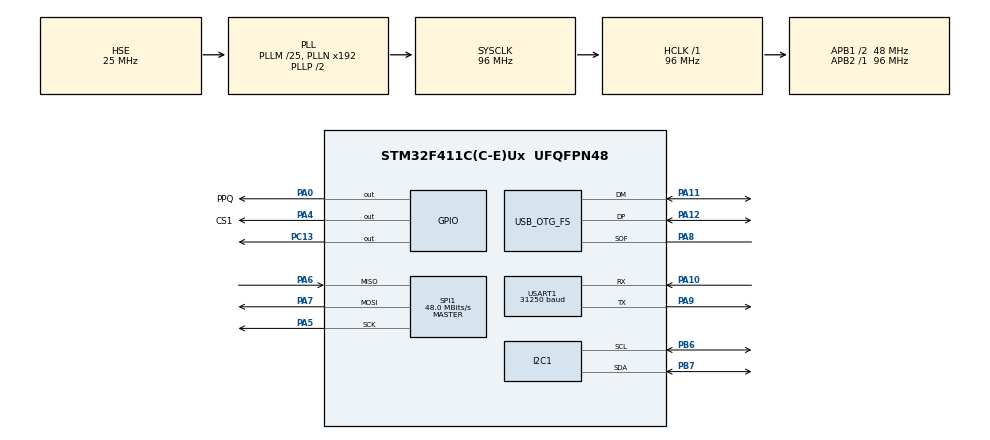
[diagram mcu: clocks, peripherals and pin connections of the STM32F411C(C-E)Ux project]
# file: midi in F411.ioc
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Dma.Request0=SPI1_RX
Dma.Request1=SPI1_TX
Dma.SPI1_RX.0.Direction=DMA_PERIPH_TO_MEMORY
Dma.SPI1_RX.0.FIFOMode=DMA_FIFOMODE_DISABLE
Dma.SPI1_RX.0.Instance=DMA2_Stream0
Dma.SPI1_RX.0.MemDataAlignment=DMA_MDATAALIGN_BYTE
Dma.SPI1_RX.0.MemInc=DMA_MINC_ENABLE
Dma.SPI1_RX.0.Mode=DMA_CIRCULAR
Dma.SPI1_RX.0.PeriphDataAlignment=DMA_PDATAALIGN_BYTE
Dma.SPI1_RX.0.PeriphInc=DMA_PINC_DISABLE
Dma.SPI1_RX.0.Priority=DMA_PRIORITY_LOW
Dma.SPI1_TX.1.Direction=DMA_MEMORY_TO_PERIPH
Dma.SPI1_TX.1.FIFOMode=DMA_FIFOMODE_DISABLE
Dma.SPI1_TX.1.Instance=DMA2_Stream2
Dma.SPI1_TX.1.MemDataAlignment=DMA_MDATAALIGN_BYTE
Dma.SPI1_TX.1.MemInc=DMA_MINC_ENABLE
Dma.SPI1_TX.1.Mode=DMA_CIRCULAR
Dma.SPI1_TX.1.PeriphDataAlignment=DMA_PDATAALIGN_BYTE
Dma.SPI1_TX.1.PeriphInc=DMA_PINC_DISABLE
Dma.SPI1_TX.1.Priority=DMA_PRIORITY_LOW
Mcu.Family=STM32F4
Mcu.Name=STM32F411C(C-E)Ux
Mcu.Package=UFQFPN48
NVIC.DMA2_Stream0_IRQn=true\:0\:0\:false\:false\:true\:false\:true\:true
NVIC.DMA2_Stream2_IRQn=true\:0\:0\:false\:false\:true\:false\:true\:true
NVIC.I2C1_ER_IRQn=true\:0\:0\:false\:false\:true\:true\:true\:true
NVIC.I2C1_EV_IRQn=true\:0\:0\:false\:false\:true\:true\:true\:true
NVIC.OTG_FS_IRQn=true\:0\:0\:false\:false\:true\:true\:true\:true
NVIC.PriorityGroup=NVIC_PRIORITYGROUP_4
NVIC.TIM2_IRQn=true\:0\:0\:false\:false\:true\:true\:true\:true
NVIC.USART1_IRQn=true\:0\:0\:false\:false\:true\:true\:true\:true
PA0-WKUP.GPIO_Label=PPQ
PA0-WKUP.GPIO_ModeDefaultOutputPP=GPIO_MODE_OUTPUT_OD
PA0-WKUP.GPIO_PuPd=GPIO_NOPULL
PA0-WKUP.Signal=GPIO_Output
PA10.Mode=Asynchronous
PA10.Signal=USART1_RX
PA11.Mode=Host_Only
PA11.Signal=USB_OTG_FS_DM
PA12.Mode=Host_Only
PA12.Signal=USB_OTG_FS_DP
PA13.Mode=Trace_Asynchronous_SW
PA13.Signal=SYS_JTMS-SWDIO
PA14.Mode=Trace_Asynchronous_SW
PA14.Signal=SYS_JTCK-SWCLK
PA4.GPIO_Label=CS1
PA4.Signal=GPIO_Output
PA5.Mode=Full_Duplex_Master
PA5.Signal=SPI1_SCK
PA6.Mode=Full_Duplex_Master
PA6.Signal=SPI1_MISO
PA7.Mode=Full_Duplex_Master
PA7.Signal=SPI1_MOSI
PA8.Mode=Activate_SOF_FS
PA8.Signal=USB_OTG_FS_SOF
PA9.GPIO_PuPd=GPIO_PULLUP
PA9.Mode=Asynchronous
PA9.Signal=USART1_TX
PB3.Mode=Trace_Asynchronous_SW
PB3.Signal=SYS_JTDO-SWO
PB6.GPIO_Pu=GPIO_PULLUP
PB6.Mode=I2C
PB6.Signal=I2C1_SCL
PB7.GPIO_Pu=GPIO_PULLUP
PB7.Mode=I2C
PB7.Signal=I2C1_SDA
PC13-ANTI_TAMP.Signal=GPIO_Output
PC14-OSC32_IN.Mode=LSE-External-Oscillator
PC14-OSC32_IN.Signal=RCC_OSC32_IN
PC15-OSC32_OUT.Mode=LSE-External-Oscillator
PC15-OSC32_OUT.Signal=RCC_OSC32_OUT
PH0\ -\ OSC_IN.Mode=HSE-External-Oscillator
PH0\ -\ OSC_IN.Signal=RCC_OSC_IN
PH1\ -\ OSC_OUT.Mode=HSE-External-Oscillator
PH1\ -\ OSC_OUT.Signal=RCC_OSC_OUT
ProjectManager.HeapSize=0x200
ProjectManager.StackSize=0x400
ProjectManager.TargetToolchain=STM32CubeIDE
RCC.48MHZClocksFreq_Value=48000000
RCC.AHBFreq_Value=96000000
RCC.APB1CLKDivider=RCC_HCLK_DIV2
RCC.APB1Freq_Value=48000000
RCC.APB1TimFreq_Value=96000000
RCC.APB2Freq_Value=96000000
RCC.APB2TimFreq_Value=96000000
RCC.CortexFreq_Value=96000000
RCC.HCLKFreq_Value=96000000
RCC.HSE_VALUE=25000000
RCC.HSI_VALUE=16000000
RCC.PLLM=25
RCC.RCC_RTC_Clock_Source=RCC_RTCCLKSOURCE_LSE
RCC.RCC_RTC_Clock_SourceVirtual=RCC_RTCCLKSOURCE_LSE
RCC.SYSCLKFreq_VALUE=96000000
RCC.SYSCLKSource=RCC_SYSCLKSOURCE_PLLCLK
RCC.VCOOutputFreq_Value=192000000
SPI1.CalculateBaudRate=48.0 MBits/s
SPI1.Direction=SPI_DIRECTION_2LINES
SPI1.Mode=SPI_MODE_MASTER
SPI1.VirtualType=VM_MASTER
TIM2.AutoReloadPreload=TIM_AUTORELOAD_PRELOAD_ENABLE
TIM2.Period=5000
TIM2.Prescaler=191
TIM2.TIM_MasterOutputTrigger=TIM_TRGO_RESET
USART1.BaudRate=31250
USART1.VirtualMode=VM_ASYNC
USB_HOST.BSP.number=1
USB_HOST.USBH_DEBUG_LEVEL=3
USB_HOST.USBH_HandleTypeDef=hUsbHostFS
USB_HOST.VirtualModeFS=Audio
USB_HOST0.BSP.STBoard=false
USB_HOST0.BSP.api=Unknown
USB_HOST0.BSP.condition=SW_VBUS_DRIVE_HID_FS \= false
USB_HOST0.BSP.instance=PA4
USB_HOST0.BSP.ip=GPIO
USB_HOST0.BSP.mode=Output
USB_HOST0.BSP.name=Drive_VBUS_FS
USB_HOST0.BSP.solution=PA4
USB_OTG_FS.VirtualMode=Host_Only
USB_OTG_FS.phy_itface=HCD_PHY_EMBEDDED
VP_RTC_VS_RTC_Activate.Mode=RTC_Enabled
VP_TIM2_VS_ClockSourceINT.Mode=Internal
VP_USB_HOST_VS_USB_HOST_AUDIO_FS.Mode=AUDIO_FS
board=custom

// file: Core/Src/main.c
/* USER CODE BEGIN Header */
/**
  ******************************************************************************
  * @file           : main.c
  * @brief          : Main program body
  ******************************************************************************
  * @attention
  *
  * Copyright (c) 2024 STMicroelectronics.
  * All rights reserved.
  *
  * This software is licensed under terms that can be found in the LICENSE file
  * in the root directory of this software component.
  * If no LICENSE file comes with this software, it is provided AS-IS.
  *
  ******************************************************************************
  */
/* USER CODE END Header */

#include "main.h"
#include "usb_host.h"

/* USER CODE BEGIN Includes */

#include"string.h"
#include "stdio.h"
#include <stdlib.h>
#include <usbh_related.h>
#include "time.h"

#include "variables.h"
#include  "scenes.h"
#include "midi.h"
#include "fx.h"
#include "lcd.h"
#include "action_dispatch.h" // this needs to be at the end

#include "notes.h"

/* USER CODE END Includes */

I2C_HandleTypeDef hi2c1;

RTC_HandleTypeDef hrtc;

SPI_HandleTypeDef hspi1;
DMA_HandleTypeDef hdma_spi1_rx;
DMA_HandleTypeDef hdma_spi1_tx;

TIM_HandleTypeDef htim2;

UART_HandleTypeDef huart1;

/* USER CODE BEGIN PV */

RTC_TimeTypeDef seq_clock;  // get time
RTC_DateTypeDef seq_date; // get date ,needed
RTC_TimeTypeDef set_Time = {0}; // to reset rtc

//USBH_HandleTypeDef hUsbHostFS;
#include "flash.h"

/*int _write(int le, char *ptr, int len)
{
int DataIdx;
for(DataIdx = 0; DataIdx < len; DataIdx++)
{
ITM_SendChar(*ptr++);
}
return len;
}*/
/* USER CODE END PV */

void SystemClock_Config(void);
static void MX_GPIO_Init(void);
static void MX_DMA_Init(void);
static void MX_USART1_UART_Init(void);
static void MX_I2C1_Init(void);
static void MX_SPI1_Init(void);
static void MX_TIM2_Init(void);
static void MX_RTC_Init(void);
void MX_USB_HOST_Process(void);

/* USER CODE BEGIN PFP */
// moved unused into flash.h

void buttons_store(void);
void flash_write(void);
void flash_read(void);
void all_notes_off(void);

//void note_replace(uint8_t note_replace);
//void USB_CDC_RxHandler(uint8_t*, uint32_t);
//void patch_screen(void);

void led_full_clear(void); // runs once clearing all leds

void lcd_start(void);

void midi_extras(void);
void input_handler(void);
void shift_hold_function(void);
/* USER CODE END PFP */

/* USER CODE BEGIN 0 */

int __io_putchar(int ch)
{
 // Write character to ITM ch.0
 ITM_SendChar(ch);
 return(ch);
}

/* USER CODE END 0 */

int main(void)
{

  /* MCU Configuration--------------------------------------------------------*/

  /* Reset of all peripherals, Initializes the Flash interface and the Systick. */
  HAL_Init();

  /* USER CODE BEGIN Init */
  midi_extra_cue[28] = 0;
  /* USER CODE END Init */

  /* Configure the system clock */
  SystemClock_Config();

  /* Initialize all configured peripherals */
  MX_GPIO_Init();
  MX_DMA_Init();
  MX_USART1_UART_Init();
  MX_I2C1_Init();
  MX_SPI1_Init();
  MX_TIM2_Init();
  MX_RTC_Init();
  MX_USB_HOST_Init();
  /* USER CODE BEGIN 2 */

  // USBD_CDC_RegisterInterface(&hUsbDeviceFS, &USBD_Interface_fops_FS);

  //tusb_init(0,0);
  //tud_init(BOARD_TUD_RHPORT);
  HAL_SPI_Init(&hspi1); // write to register hspi2
  HAL_DMA_Init(&hdma_spi1_rx);
  	HAL_DMA_Init(&hdma_spi1_tx);
  //	HAL_I2C_Init(&hi2c1);
  //	HAL_TIM_Base_Start(&htim2);
  //	HAL_TIM_Base_Start(&htim2);
  //	HAL_TIM_PWM_Start(&htim2,TIM_CHANNEL_1);
  //	TIM2->CNT=32000;

/*
  	int __io_putchar(int ch)
  	{
  	    ITM_SendChar(ch);
  	    return (ch);
  	}
*/

    HAL_TIM_Base_Start_IT(&htim2);
   HAL_UART_Receive_IT(&huart1, serial_rx_buf, 1);		// midi irq
  // HAL_UART_Receive_IT(&huart1, serial_rx_buf, 1);
  		// midi irq

   // HAL_UART_Receive_DMA(&huart1, serial1_hold2,1);    //
  //CDC_Transmit_FS("Hello\r\n",7);

	printf("hello");

	//  get flash data
	flash_read();
	for (i=0;i<16;i++){

		if (pitch_change_rate[i]>127) pitch_change_rate[i]=127;

	}

	uint8_t count_div;
	for (i=0;i<1024;i++){   // read data from seq_play_buf
		count_div=i/16;

	if(seq_play_buf[(i*3)]>127) memset(seq_play_buf+(i*3),0,3);
	if(seq_play_buf[(i*3)+1]>127) memset(seq_play_buf+(i*3),0,3);// clear bad data

	seq_play_buf_time[i]=seq_play_buf[(i*3)+2]; // saves time of messages
	if(seq_play_buf_end[count_div]<seq_play_buf_time[i]) seq_play_buf_end[count_div]=seq_play_buf_time[i]; // save last message time per track

	}

	//other_buttons=1; // nothing
	//uint16_t arr_cnt=(bpm_table[tempo]*1.333333)-1;
	//TIM2->ARR= arr_cnt;   // -1
  	//TIM2->CCR1=(arr_cnt/2) ;   // 90-4v   50-1.5v 20- 0.6v   -1

	//TIM2->CCMR1 = 0;
	lcd_start();
	scene_buttons[0]=0;
//	 board_init();
	printf(" hello world \n");

/*
	tusb_rhport_init_t dev_init={
			.role =	TUSB_ROLE_DEVICE,
				.speed = TUSB_SPEED_FULL

	};
		tusb_init(BOARD_TUD_RHPORT, &dev_init);   // essential
*/
//	 board_init_after_tusb();

	//loop_screen();
	// panic_delete();                 WATCH FOR WEIRD APC SENDS , IE UP ARROW PLUS BOTTOM ROW 3 SENDS CONSTANT CONTROLLER 50 INFO  ?
  /* USER CODE END 2 */

  /* Infinite loop */
  /* USER CODE BEGIN WHILE */
  while (1)
  {

	  usb_loop_start();

	//  midi_rec();
	 // HAL_GPIO_WritePin(PPQ_GPIO_Port, PPQ_Pin, (ppq_send|1));
	 // uint16_t step_temp=0;
	 // uint8_t seq_step_mod;
	  uint8_t selected_scene=scene_buttons[0]; // moving on from this
	  uint16_t seq_t=seq_pos;
/////////////////////////////////////////////////////////////////////////////////////////////////////////////////////////////////////
	  if (seq_pos_mem!=seq_t){     // runs  8 times /step  , control sequencer counting

		 // midi_timeout_check_and_send(); // this is ok

		  accent_lfo();

		  process_pot_midi(cc_extra_send[1], my_send_cc); // cc delay and filter process

		  midi_idle_check(my_send_cc);  // cc delay timer check

		  if((seq_t<10 ) && (bar_start_enable)  && (!bar_end_enable) ) {bar_start();} // a little time buffer  just in case

		  if((seq_t>245 ) && (!bar_start_enable)  && (bar_end_enable) ) bar_end(); // this needs to change
	  if ((seq_t==255)){
	 if (!pause) seq_step_long=(seq_step_long+1)&(song_length-1);}

		  if (!pause) seq_step = seq_t>> 4;

		  //if(pause) green_position[0]=seq_record_timer>>5;  else green_position[0]=seq_step>>1;
		 // if(!stop_all_clips)
			  green_position[0]=(seq_t>>4)&15; // 0-7
		  green_position[1]=seq_step>>1;
		  //if (green_position[0]==7) clear_row(0);
		//  cdc_send(); // all midi compiled for send  8/per note , sends on seq_pos=1 atm
		  if (seq_record_timer) seq_record_timer=(seq_record_timer+1)&255;  // runs only when started till the end then stops on 0
		 if(solo) {	memset(bar_map_sound_enable,0,(sound_set*1)); bar_map_sound_enable[scene_buttons[0]]=1;	} // enable one sound for solo
		 if(rec_arm) {	 bar_map_sound_enable[scene_buttons[0]]=1;	} // lock on selected channel when recording

		 if (seq_t) {   cdc_send2(); }

		 // if(seq_t&&1) {{ if (fx_counter>63) fx_counter=0; else fx_counter++; } fx_cc_send(fx_counter);}// sending midi cc, sends only on change so can be called often
		  // fills up send data buffer with cc data , might disable this for now and just send live data

		  midi_extras(); // sends cc and pc , not a problem
			 seq_pos_mem=seq_t;
		 } // end of seq_pos ,fast step 8/step

/////////////////////////////////////////////////////////////////////////////////////////////////////////////////////////////////////////////////////////////////////////
	  if ((s_temp) != (seq_t>>3)) {			// runs on note steps 0-31

		  lcd_time_track();
		//  if(lcd_downcount==0)  lcd_current_patterns(); // delayed lcd display function
		 if (lcd_downcount) lcd_downcount--;
		  // if (seq_step&1)  memset(blink_light_list,5,8);
		 // reset all lights
			  if(seq_step==13) {  led_full_clear();	// this runs twice
		  }

		  //  lcd_menu_pages(2); // seems to mess up printing now
		  lcd_mem(); // this sends too fast when run constant
		 // accent_bit=((seq_step_long&3)<<3)+(seq_step>>1);   //0-32 ,32+32 for 8 bytes ,1 bit is 2 steps, time reference
		//  accent_bit_shift=((seq_step_long>>2)&1)*4; // changes per bar , time reference
		 // if (clip_stop && (scene_buttons[0]>7)) pitch_mode(); // only when second page

		  if(s_temp==31){ seq_record_enable=0;

		  for (i=0;i<4;i++){  // advance short record playback , this now voice based
			  if ((short_repeat_counter[i])>=4) {
				 uint16_t current_scene=(note_recording_set_current[i]*16)+(i*128); // time buf

				  memset (short_repeat_buf+(current_scene*3),0,48);memset (short_repeat_time+(current_scene),0,16);short_repeat_counter[i]=0;};
			  if ((short_repeat_counter[i]) && ((short_repeat_counter[i]))<4) short_repeat_counter[i]++;

		  }}
		  //progress bar
/*		  clear_row(2);clear_row(3);
		 if (!seq_step_modify){
		  button_states[8+((seq_step_long>>3)&7)]=5;  // shows 8 bar  on first screen
		  button_states[8+(seq_step_long&7)]=3;
		  uint8_t recordings=note_recording_set_current[voice_list[scene_buttons[0]]];
		  button_states[16+recordings]=5;

		 }  // shows current bar pos on first screen
		 else {
			  uint8_t step=seq_step_modify-1;
			  //seq_step_modify=0;
			 button_states[8+(((step)>>3)&7)]=5;  // shows 8 bar  on first screen
			  button_states[8+((step)&7)]=3;
			  uint8_t recordings=load_current_pattern(step);
			  button_states[16+recordings]=5;

		 }*/
		  /////////////

		  if (!pause) {
			  shift_hold_function(); // runs on every note

		  } //end of pause off

		  if(!seq_step_long) {HAL_RTC_SetTime(&hrtc, &set_Time, RTC_FORMAT_BIN);}  //resets rtc
		  HAL_RTC_GetTime(&hrtc, &seq_clock, RTC_FORMAT_BIN);
		  HAL_RTC_GetDate(&hrtc, &seq_date, RTC_FORMAT_BIN);  // this needs to be called or the time wont work properly

			  uint8_t current_scene=scene_buttons[0]; //  local
			  seq_current_step=loop_lfo_out[current_scene+32];
			  loop_current_speed=pattern_scale_list[current_scene];

			  if (!seq_t) current_playing_bar=(current_playing_bar+1)&31;  // resets on a stop

			  if ((send) && shift) {  all_notes_off(); flash_read();  button_states[send_button]=0; send=0; }   // reload everything from flash

			 // printf(hUsbHostFS.gState == HOST_CLASS);
			//  uint8_t crap[64];
			//  memcpy (crap,cdc_buffer,12);

		//////////////PRINT///////////////////
/*			  for (i=0;i<16;i++){  // i=scene

				//  printf(" %d",crap[i] );

				  printf(" %d",pitch_list_for_drums[i]);
				//  printf(" %d",pitch_list_for_drums[pitch_selected_for_drums[i]+(i*8)]);

				 // printf(" %d",loop_screen_note_on[(selected_scene*32)+i] );
				 // printf(" ds=%d ",drum_store_one[i+(scene_buttons[0]*4)] );
			  }
			  printf("   %d",seq_step );
			  printf("   %d",led_clear);
			  printf("   %d",pattern_select );

			  printf("   %d",midi_cue_time[midi_cue_count] );
			  printf("   %d",midi_cue_count );
			  printf(" \n" );*/
		//	  printf(" incoming=%d ",square_buttons_list[test_byte[11]]);  printf(" step=%d ",seq_step_list[0]);
			//  printf(" cdc=%d\n ",cdc_len_temp);

 				// print section
			  //if (lcd_downcount) { lcd_message();lcd_downcount--; }
 			//	lcd_menu_pages(1);
			//  usb_print();

 				//		printf(" %d\n ", midi_cue[6]);

 				 HAL_GPIO_WritePin(GPIOC,GPIO_PIN_13,led_blink);
 				  led_blink=!led_blink;

 				  flash_write(); // works only if button pressed , not during pause ?
 				  note_off_enable=1;
 				//  arrows();

 				//  if( (USBD_MIDI_GetState(&hUsbDeviceFS) == MIDI_IDLE) )  USB_send();  // fast     	//temp disable

 			//	  if (!midi_channel_list[0]) flash_read(); // in case flash didn't load

 				  s_temp = seq_t>>3;

 			}   // blink steps , end of s_temp

	 if ((ppq_temp!=ppq_send) ){ USB_send(); ppq_temp=ppq_send;// need to limit rate or it crashes the controlled/midi stack

		  }

	  //USB_send();

	  /////////////// MIDI SEND ////////////////

	  //if ((serial_len>12 )&&(HAL_UART_GetState(&huart1)==HAL_UART_STATE_READY)) // send 12bytes at a time on large sends
		  if (tx_ready && serial_len) // send 12bytes at a time on large sends
			//  if ((HAL_UART_GetState(&huart1)==HAL_UART_STATE_READY)&& tx_ready && serial_len)

		  {

			  memcpy(serial_tx_buf,serial_out,serial_len);
			  serial_tx_counter=serial_len;
			  tx_ready=0;
			  HAL_UART_Transmit_IT(&huart1, serial_tx_buf, serial_tx_counter);
			  serial_len=0;
	//	  HAL_UART_Transmit(&huart1,serial_out,serial_len,100); // uart send disable if no info,
	//  uint8_t mem_temp[128];
	 // serial_len-=12;

	 // memcpy(serial_out,mem_temp,serial_len);

	  }
	 // if ((serial_len<=12)&&(HAL_UART_GetState(&huart1)==HAL_UART_STATE_READY)) {HAL_UART_Transmit(&huart1,serial_out,serial_len,100); serial_len=0;} //serial send

/*

 	  if ((seq_pos == 64) &&(mtc_tick)) {    // only if mtc is incoming

 		  if (mtc_tick > 64) {
 				timer_value = timer_value - (mtc_tick - 64);
 				mtc_tick = seq_pos;
 			} // chase mtc ,reasonable
 			if (mtc_tick < 64) {
 				timer_value = timer_value + (64 - mtc_tick);
 				mtc_tick = seq_pos;
 			}
 			if ((timer_value > 700) | (timer_value < 300))
 				timer_value = 512; // fix in case

 		} else seq_enable=1;  // if no mtc then just run sequencer

 	  if (serial1_hold[5])	{//printf("%d",timer_value);printf(" %d ",seq_pos);printf(" %d \n",mtc_tick);

 		  if (serial1_hold[0]>247) realtime=serial1_hold[0];
 		  else {realtime=0;message_cue[message_counter]=serial1_hold[0];message_counter++; }
 		  if(message_counter>2) message_counter=0;   // set to typical midi for now

 		  if (realtime==248 ) {realtime=0;
 		  if(mtc_tick==191) mtc_tick=0; else mtc_tick++;realtime=0;}   // 8/4 or 32/16
 		//  if (realtime==248 ) {mtc_tick++;realtime=0;printf(" %d",seq_pos);printf(" %d \n",mtc_tick);} //always running

 		  if (realtime==250 )
 					  {seq_enable=1;realtime=0;seq_pos=0;seq_step=0;mtc_tick=0;} // reset to 0 on real time message :start
 		  if (realtime==252)
 							  {seq_enable=0;
 							  send_buffer[5]=0;  // clear last step
 							  realtime=0; } // reset to 0 on real time message :stop

			//  note_handling(serial1_hold[0]);note_replace(note_replace_enable);    // notes generate after each !!!
			 // 	note_handling(serial1_hold[1]);note_replace(note_replace_enable);
			 // 	note_handling(serial1_hold[2]);note_replace(note_replace_enable);

		  serial1_hold[5]=0;serial1_hold[0]=0;
		  //HAL_UART_Receive_IT(&huart1,&serial1_temp,1); // finish 4 bytes and blink , reset irq

		  }  // end of midi in
	*/

			 // if( (USBD_MIDI_GetState(&hUsbDeviceFS) == MIDI_IDLE) )  USB_send();  // fast     	//temp disable

			  if (      cdc_buffer[12]||cdc_buffer[9] || cdc_buffer[6] ||cdc_buffer[3] ||  cdc_buffer[0]  ) {      //  when cdc buffer incoming, need change
				  // keep cdc buffer interaction to minimum or problems
				 uint8_t flag=0;
				 uint8_t test_flag=0;

				  if (cdc_buffer[12] && (!flag) )  {cdc_start=12;flag=1;}
				  if (cdc_buffer[9]&& (!flag)   )  {cdc_start=9;flag=1;}
				  if (cdc_buffer[6] && (!flag)  )  {cdc_start=6;flag=1;}
				  if (cdc_buffer[3] && (!flag)  )  {cdc_start=3;flag=1;}
				  if (cdc_buffer[0] && (!flag)  )  {cdc_start=0;flag=1;}
				  if (cdc_buffer[1]) test_flag=1;

				  if (flag || test_flag) memcpy(cdc_echo,cdc_buffer+cdc_start,3);  //keeps missing data
				 // works off only receiving buffer
				//  if (first_message) {first_message=0;  memset(other_buttons_hold,9,70);} // only runs after getting a midi message from usb

				 switch (cdc_buffer[cdc_start]){
				 case 145:keyboard[0]=cdc_buffer[cdc_start+1];keyboard[1]=127;keyboard_note_off(keyboard[0]);memset(cdc_buffer+cdc_start,0,3);break;
				 case 129:keyboard[0]=cdc_buffer[1];keyboard[1]=0;memset(cdc_buffer+cdc_start,0,3);break;
				 default:if (!cdc_to_notes[0]) {memcpy(cdc_to_notes,cdc_buffer+cdc_start, 3); memset(cdc_buffer+cdc_start,0,3);};break;

				  }

				  // sends straight to keyboard on receive
			 // printf(" 1=%d ",cdc_buffer[0] ); printf(" 2=%d ",cdc_buffer[1] ); printf(" 3=%d \n ",cdc_buffer[2] );

			  if (pause==5)  { all_notes_off();}    // runs only once during pause

		  }  // end of cdc message

		  if (keyboard[0])  {    // keyboard play live
			//  if (rec_arm && pause && (keyboard[1]>48)&& (scene_buttons[0]>7)) {loop_screen_disable=1;step_recording();}
			 //  if (clip_stop) {pitch_mode();keyboard[0]=0;} // disable send in pitch mode
				uint8_t note_flag=144; // just use vel 0 for off
				short_track_disable=scene_buttons[0]+1;

				  if (!keyboard[1]) note_flag=128; // note off

				  uint8_t buffer_pos=keyboard_buffer[31];  // might use this and process at the end

				//  if (incoming>>7)  {note_flag=128;velocity=0;}
				  if (buffer_pos>23) buffer_pos=0;   // reset buffer in case
				//  if( rec_arm && (!clip_stop))  { button_states[square_buttons_list[seq_step>>1]]=red_button;seq_play_record(seq_play_buf, seq_play_buf_time );} // records live sequence from keyboard[0]
				//  if ((!rec_arm) && (!clip_stop)){button_states[square_buttons_list[seq_step>>1]]=red_button; seq_play_record(short_repeat_buf, short_repeat_time );} //being skipped ?
				  // disabling all recording for now

 	  	  	  	  uint8_t incoming=keyboard[0]&127;
   	   	   	   	   uint8_t velocity=keyboard[1]&127;
				  				 // uint8_t current_seq_pos=seq_pos&255;
				  uint8_t extra_start=midi_extra_cue[28];  //start from last byte
				  if (extra_start>21) midi_extra_cue[28]=21;
/*				  if (midi_channel_list[voice_list[selected_scene]]==9)   // drums send

				  //{  midi_extra_cue[extra_start]=(note_flag+9);         // use drumlist for now

				 // midi_extra_cue[1+extra_start]=(drum_list[selected_scene]);midi_extra_cue[2+extra_start]=velocity; midi_extra_cue[28]=extra_start+3;incoming=0;}
				  {midi_extra_cue[extra_start]=note_flag+midi_channel_list[voice_list[selected_scene]];  midi_extra_cue[1+extra_start]=((incoming))&127 ;
				 				  midi_extra_cue[2+extra_start]=velocity; midi_extra_cue[28]=extra_start+3;incoming=0;}
				  else  */
				  {midi_extra_cue[extra_start]=note_flag+midi_channel_list[voice_list[selected_scene]];  midi_extra_cue[1+extra_start]=((incoming))&127 ;
				  midi_extra_cue[2+extra_start]=velocity; midi_extra_cue[28]=extra_start+3;incoming=0;}  // send normal then keyboard off

				  keyboard[0]=incoming;

				//  memcpy(keyboard_buffer+buffer_pos,midi_extra_cue+(1+extra_start),2); keyboard_buffer[buffer_pos+2]=current_seq_pos; keyboard_buffer[31]=buffer_pos+3;  // store in buffer

				  }//end of keyboard

				if(((seq_pos&7)>3) && (cdc_to_notes[0]))   {buttons_store();input_handler();}   // incoming keyb midi ,runs until empty

    /* USER CODE END WHILE */
    MX_USB_HOST_Process();

    /* USER CODE BEGIN 3 */
	  } // while loop
  /* USER CODE END 3 */
}

void SystemClock_Config(void)
{
  RCC_OscInitTypeDef RCC_OscInitStruct = {0};
  RCC_ClkInitTypeDef RCC_ClkInitStruct = {0};

  /** Configure the main internal regulator output voltage
  */
  __HAL_RCC_PWR_CLK_ENABLE();
  __HAL_PWR_VOLTAGESCALING_CONFIG(PWR_REGULATOR_VOLTAGE_SCALE1);

  /** Initializes the RCC Oscillators according to the specified parameters
  * in the RCC_OscInitTypeDef structure.
  */
  RCC_OscInitStruct.OscillatorType = RCC_OSCILLATORTYPE_HSE|RCC_OSCILLATORTYPE_LSE;
  RCC_OscInitStruct.HSEState = RCC_HSE_ON;
  RCC_OscInitStruct.LSEState = RCC_LSE_ON;
  RCC_OscInitStruct.PLL.PLLState = RCC_PLL_ON;
  RCC_OscInitStruct.PLL.PLLSource = RCC_PLLSOURCE_HSE;
  RCC_OscInitStruct.PLL.PLLM = 25;
  RCC_OscInitStruct.PLL.PLLN = 192;
  RCC_OscInitStruct.PLL.PLLP = RCC_PLLP_DIV2;
  RCC_OscInitStruct.PLL.PLLQ = 4;
  if (HAL_RCC_OscConfig(&RCC_OscInitStruct) != HAL_OK)
  {
    Error_Handler();
  }

  /** Initializes the CPU, AHB and APB buses clocks
  */
  RCC_ClkInitStruct.ClockType = RCC_CLOCKTYPE_HCLK|RCC_CLOCKTYPE_SYSCLK
                              |RCC_CLOCKTYPE_PCLK1|RCC_CLOCKTYPE_PCLK2;
  RCC_ClkInitStruct.SYSCLKSource = RCC_SYSCLKSOURCE_PLLCLK;
  RCC_ClkInitStruct.AHBCLKDivider = RCC_SYSCLK_DIV1;
  RCC_ClkInitStruct.APB1CLKDivider = RCC_HCLK_DIV2;
  RCC_ClkInitStruct.APB2CLKDivider = RCC_HCLK_DIV1;

  if (HAL_RCC_ClockConfig(&RCC_ClkInitStruct, FLASH_LATENCY_3) != HAL_OK)
  {
    Error_Handler();
  }
}

static void MX_I2C1_Init(void)
{

  hi2c1.Instance = I2C1;
  hi2c1.Init.ClockSpeed = 100000;
  hi2c1.Init.DutyCycle = I2C_DUTYCYCLE_2;
  hi2c1.Init.OwnAddress1 = 0;
  hi2c1.Init.AddressingMode = I2C_ADDRESSINGMODE_7BIT;
  hi2c1.Init.DualAddressMode = I2C_DUALADDRESS_DISABLE;
  hi2c1.Init.OwnAddress2 = 0;
  hi2c1.Init.GeneralCallMode = I2C_GENERALCALL_DISABLE;
  hi2c1.Init.NoStretchMode = I2C_NOSTRETCH_DISABLE;
  if (HAL_I2C_Init(&hi2c1) != HAL_OK)
  {
    Error_Handler();
  }

}

static void MX_RTC_Init(void)
{

  /** Initialize RTC Only
  */
  hrtc.Instance = RTC;
  hrtc.Init.HourFormat = RTC_HOURFORMAT_24;
  hrtc.Init.AsynchPrediv = 127;
  hrtc.Init.SynchPrediv = 255;
  hrtc.Init.OutPut = RTC_OUTPUT_DISABLE;
  hrtc.Init.OutPutPolarity = RTC_OUTPUT_POLARITY_HIGH;
  hrtc.Init.OutPutType = RTC_OUTPUT_TYPE_OPENDRAIN;
  if (HAL_RTC_Init(&hrtc) != HAL_OK)
  {
    Error_Handler();
  }

}

static void MX_SPI1_Init(void)
{

  /* SPI1 parameter configuration*/
  hspi1.Instance = SPI1;
  hspi1.Init.Mode = SPI_MODE_MASTER;
  hspi1.Init.Direction = SPI_DIRECTION_2LINES;
  hspi1.Init.DataSize = SPI_DATASIZE_8BIT;
  hspi1.Init.CLKPolarity = SPI_POLARITY_LOW;
  hspi1.Init.CLKPhase = SPI_PHASE_1EDGE;
  hspi1.Init.NSS = SPI_NSS_SOFT;
  hspi1.Init.BaudRatePrescaler = SPI_BAUDRATEPRESCALER_2;
  hspi1.Init.FirstBit = SPI_FIRSTBIT_MSB;
  hspi1.Init.TIMode = SPI_TIMODE_DISABLE;
  hspi1.Init.CRCCalculation = SPI_CRCCALCULATION_DISABLE;
  hspi1.Init.CRCPolynomial = 10;
  if (HAL_SPI_Init(&hspi1) != HAL_OK)
  {
    Error_Handler();
  }

}

static void MX_TIM2_Init(void)
{

  TIM_ClockConfigTypeDef sClockSourceConfig = {0};
  TIM_MasterConfigTypeDef sMasterConfig = {0};

  htim2.Instance = TIM2;
  htim2.Init.Prescaler = 191;
  htim2.Init.CounterMode = TIM_COUNTERMODE_UP;
  htim2.Init.Period = 5000;
  htim2.Init.ClockDivision = TIM_CLOCKDIVISION_DIV1;
  htim2.Init.AutoReloadPreload = TIM_AUTORELOAD_PRELOAD_ENABLE;
  if (HAL_TIM_Base_Init(&htim2) != HAL_OK)
  {
    Error_Handler();
  }
  sClockSourceConfig.ClockSource = TIM_CLOCKSOURCE_INTERNAL;
  if (HAL_TIM_ConfigClockSource(&htim2, &sClockSourceConfig) != HAL_OK)
  {
    Error_Handler();
  }
  sMasterConfig.MasterOutputTrigger = TIM_TRGO_RESET;
  sMasterConfig.MasterSlaveMode = TIM_MASTERSLAVEMODE_DISABLE;
  if (HAL_TIMEx_MasterConfigSynchronization(&htim2, &sMasterConfig) != HAL_OK)
  {
    Error_Handler();
  }

}

static void MX_USART1_UART_Init(void)
{

  huart1.Instance = USART1;
  huart1.Init.BaudRate = 31250;
  huart1.Init.WordLength = UART_WORDLENGTH_8B;
  huart1.Init.StopBits = UART_STOPBITS_1;
  huart1.Init.Parity = UART_PARITY_NONE;
  huart1.Init.Mode = UART_MODE_TX_RX;
  huart1.Init.HwFlowCtl = UART_HWCONTROL_NONE;
  huart1.Init.OverSampling = UART_OVERSAMPLING_16;
  if (HAL_UART_Init(&huart1) != HAL_OK)
  {
    Error_Handler();
  }

}

static void MX_DMA_Init(void)
{

  /* DMA controller clock enable */
  __HAL_RCC_DMA2_CLK_ENABLE();

  /* DMA interrupt init */
  /* DMA2_Stream0_IRQn interrupt configuration */
  HAL_NVIC_SetPriority(DMA2_Stream0_IRQn, 0, 0);
  HAL_NVIC_EnableIRQ(DMA2_Stream0_IRQn);
  /* DMA2_Stream2_IRQn interrupt configuration */
  HAL_NVIC_SetPriority(DMA2_Stream2_IRQn, 0, 0);
  HAL_NVIC_EnableIRQ(DMA2_Stream2_IRQn);

}

static void MX_GPIO_Init(void)
{
  GPIO_InitTypeDef GPIO_InitStruct = {0};

  /* GPIO Ports Clock Enable */
  __HAL_RCC_GPIOC_CLK_ENABLE();
  __HAL_RCC_GPIOH_CLK_ENABLE();
  __HAL_RCC_GPIOA_CLK_ENABLE();
  __HAL_RCC_GPIOB_CLK_ENABLE();

  /*Configure GPIO pin Output Level */
  HAL_GPIO_WritePin(GPIOC, GPIO_PIN_13, GPIO_PIN_RESET);

  /*Configure GPIO pin Output Level */
  HAL_GPIO_WritePin(GPIOA, PPQ_Pin|CS1_Pin, GPIO_PIN_RESET);

  /*Configure GPIO pin : PC13 */
  GPIO_InitStruct.Pin = GPIO_PIN_13;
  GPIO_InitStruct.Mode = GPIO_MODE_OUTPUT_PP;
  GPIO_InitStruct.Pull = GPIO_NOPULL;
  GPIO_InitStruct.Speed = GPIO_SPEED_FREQ_LOW;
  HAL_GPIO_Init(GPIOC, &GPIO_InitStruct);

  /*Configure GPIO pin : PPQ_Pin */
  GPIO_InitStruct.Pin = PPQ_Pin;
  GPIO_InitStruct.Mode = GPIO_MODE_OUTPUT_OD;
  GPIO_InitStruct.Pull = GPIO_NOPULL;
  GPIO_InitStruct.Speed = GPIO_SPEED_FREQ_LOW;
  HAL_GPIO_Init(PPQ_GPIO_Port, &GPIO_InitStruct);

  /*Configure GPIO pin : CS1_Pin */
  GPIO_InitStruct.Pin = CS1_Pin;
  GPIO_InitStruct.Mode = GPIO_MODE_OUTPUT_PP;
  GPIO_InitStruct.Pull = GPIO_NOPULL;
  GPIO_InitStruct.Speed = GPIO_SPEED_FREQ_LOW;
  HAL_GPIO_Init(CS1_GPIO_Port, &GPIO_InitStruct);

}

/* USER CODE BEGIN 4 */
	void HAL_UART_RxCpltCallback(UART_HandleTypeDef *huart)
	{
		if (huart->Instance == USART1) { 	// midi irq

	//		if (serial1_hold2[0]==248)  {	memcpy(serial1_hold,serial1_hold2,4)  ;   // copy mem

		//	serial1_hold[5]=1;seq_pos++;   HAL_UART_Receive_DMA(&huart1, serial1_hold2,1); }

	//		else

			memcpy(serial1_hold,serial1_hold2,1)  ;   // copy mem

			//}  //enable read  or reset irq

		}

		//memcpy((serial_hold+8),(serial_hold2+8),8);
	}
	void HAL_UART_TxCpltCallback(UART_HandleTypeDef *huart){
		if (huart->Instance == USART1){

			tx_ready=1;
		}

	}

	void HAL_TIM_PeriodElapsedCallback(TIM_HandleTypeDef *htim)    // unreliable
		{
			if(TIM2==htim->Instance){     // send spi to display , ok

				//button_send_trigger=(button_send_trigger+1)&255; // sets interval for buttons

				if (!skip_enable)HAL_GPIO_TogglePin(GPIOA,PPQ_Pin);

				if (!skip_enable) skip_enable=skip_setting; else {skip_enable--;} // 48 ppq here

				if (ppq_count>5) {ppq_count=0; seq_pos=(seq_pos+1)&255;}   // 32 ppq
				 ppq_count++;
				 if (ppq_send>95) ppq_send=0;  else ppq_send++;   // 96 ppq

			}
		}
	void HAL_SPI_TxRxCpltCallback(SPI_HandleTypeDef * hspi)   // when finished sending
		{

		   if (SPI1==hspi->Instance) {				// keep it short if possible

			   HAL_GPIO_WritePin(CS1_GPIO_Port, CS1_Pin, 1);  //  end
			   flash_flag=2;

			   //    if (sample_dma_counter==0)		{  memcpy(flash_read_block3,flash_read_block2+4,1024);  flash_flag=2;  }
			//   if (sample_dma_counter==1) sample_dma_counter=3;
					   //			      if (sample_dma_counter==2) sample_dma_counter=4;
		  //     if (sample_dma_counter==3)   {memcpy(flash_read_block,flash_read_block2+4,1024);sampler_1k_load(sample_flash_address[0]);sample_dma_counter=2;return;}
		  //     if (sample_dma_counter==4)			{  memcpy(flash_read_block3,flash_read_block2+4,1024); sampler_1k_load(sample_flash_address[1]); sample_dma_counter=1; }
		//	if (sample_dma_counter)   {memcpy(flash_read_block,flash_read_block2+4,1024); sampler_1k_load(sample_flash_address[1]); sample_dma_counter=0;flash_flag=2; }

		   }
		}

//	HAL_I2C_SlaveRxCpltCallback(){}
	void input_handler(void){ // this needs to be in main ,after notes process , controlling all actual functions (eventually, some day)
		InputSig sig = {0};
		sig.source =cdc_to_input[1];                     // pitch or cc
		sig.value=cdc_to_input[2];
		sig.mods   = build_mods(clip_stop, solo, rec_arm, mute, selecting,
		                        stop_all_clips, volume, pan, send, device,
		                        left, right, up, down);
		sig.flags  = 0;
		if (cdc_to_input[0]==176) sig.flags |= FLAG_CC;
		if (shift)  sig.flags |= FLAG_SHIFT;
		if (pause)  sig.flags |= FLAG_PAUSE;

		ActionFn fn = lookup_action(&sig, action_table, ACTION_TABLE_SIZE);
		if (fn) fn(&sig);

	}

	void stop_start(void)             {
	  //  if (TIM10==htim ->Instance)
		if  (stop_toggle ==1) {HAL_TIM_Base_Stop_IT(&htim2);stop_toggle =2;}
		if  (stop_toggle ==4) {HAL_TIM_Base_Start_IT(&htim2);stop_toggle=0;}

	}
	void USB_CDC_RxHandler(uint8_t* Buf, uint32_t Len)
	{
		memcpy(cdc_buffer,Buf,Len);
	}
	/*void HAL_I2C_MasterTxCpltCallback (I2C_HandleTypeDef * hi2c)
	{
	  I2C_transmit=1;
	}*/

/* USER CODE END 4 */

void Error_Handler(void)
{
	  __disable_irq();
	  while (1)
	  {
	  }
}
